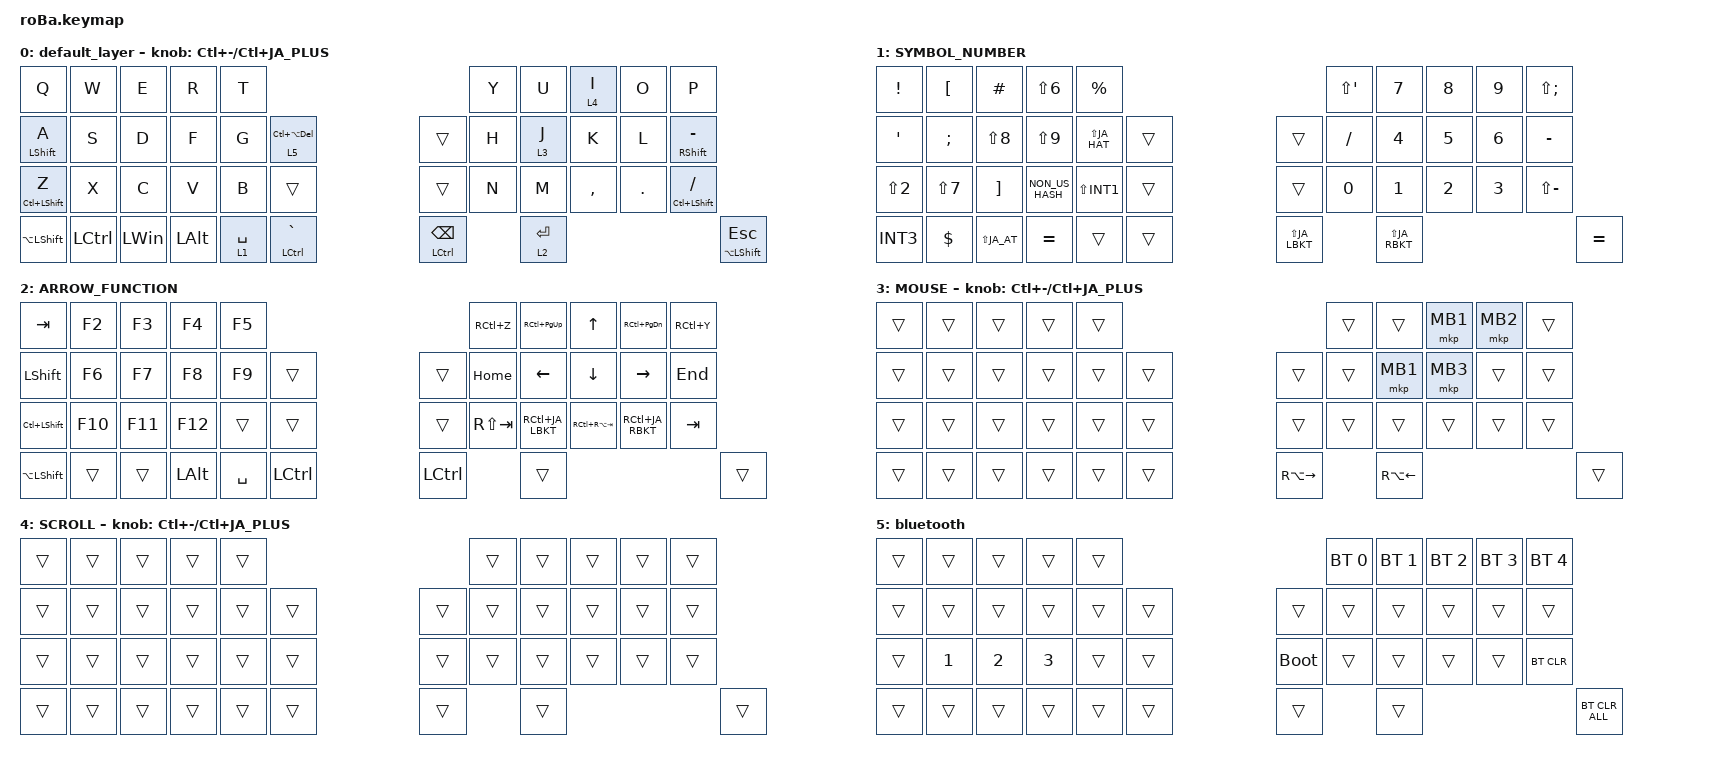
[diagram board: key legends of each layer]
#include <behaviors.dtsi>
#include <dt-bindings/zmk/bt.h>
#include <dt-bindings/zmk/keys.h>
#include <dt-bindings/zmk/pointing.h>

// --- JIS配列完全対応：記号スキャンコード再定義（Additive Only） ---
#define JA_AT   LBKT            // @
#define JA_HAT  EQUAL           // ^
#define JA_YEN  INT3            // ¥
#define JA_DQT  LS(N2)          // "
#define JA_AMP  LS(N6)          // &
#define JA_SQT  LS(N7)          // '
#define JA_LPAR LS(N8)          // (
#define JA_RPAR LS(N9)          // )
#define JA_EQL  LS(MINUS)       // =
#define JA_TIL  LS(JA_HAT)      // ~
#define JA_PIPE LS(INT3)        // |
#define JA_PLUS LS(SEMICOLON)   // +
#define JA_COLN SQT               // :
#define JA_AST  LS(SQT)         // *
#define JA_LBKT RBKT            // [
#define JA_RBKT NON_US_HASH     // ]
#define JA_LBRC LS(JA_LBKT)     // {
#define JA_RBRC LS(JA_RBKT)     // }
#define JA_UNDS LS(INT1)        // _ (ろキーにShiftを当てることでアンダーバーに固定)
#define JA_GRV  LS(JA_AT)       // ` (JIS配列ではShift + @ がバッククォート)
#define JA_SEMI SEMICOLON       // ;

&mt {
    flavor = "balanced";
    quick-tap-ms = <0>;
};

&trackball {
    scroll-layers = <4>;
};

/ {
    combos {
        compatible = "zmk,combos";
        tab {
            bindings = <&kp TAB>;
            key-positions = <0 1>;
        };

        // O(8) と P(9) の同時押しで Delete
        combo_delete {
            timeout-ms = <50>;
            key-positions = <8 9>;
            bindings = <&kp DELETE>;
        };
    };

    macros {
        to_layer_0: to_layer_0 {
            compatible = "zmk,behavior-macro-one-param";
            #binding-cells = <1>;
            bindings = <&to 0 &macro_param_1to1 &kp MACRO_PLACEHOLDER>;
            label = "TO_LAYER_0";
        };
    };

    behaviors {
        lt_to_layer_0: lt_to_layer_0 {
            compatible = "zmk,behavior-hold-tap";
            label = "LAYER_TAP_TO_0";
            bindings = <&mo>, <&to_layer_0>;
            #binding-cells = <2>;
            tapping-term-ms = <200>;
        };

        hm: homerow_mods {
            compatible = "zmk,behavior-hold-tap";
            #binding-cells = <2>;
            tapping-term-ms = <200>;
            quick-tap-ms = <200>;
            flavor = "tap-preferred";
            bindings = <&kp>, <&kp>;
        };

        lt_right: layer_tap_right_thumb {
            compatible = "zmk,behavior-hold-tap";
            #binding-cells = <2>;
            tapping-term-ms = <200>;
            quick-tap-ms = <0>;
            flavor = "balanced";
            bindings = <&mo>, <&kp>;
        };

        ime_ctrl: ime_toggle_control {
            compatible = "zmk,behavior-hold-tap";
            #binding-cells = <2>;
            tapping-term-ms = <200>;
            quick-tap-ms = <0>;
            flavor = "balanced";
            bindings = <&kp>, <&kp>;
        };
    };

    keymap {
        compatible = "zmk,keymap";

        default_layer {
            bindings = <
&kp Q             &kp W        &kp E         &kp R         &kp T                                                         &kp Y        &kp U    &lt 4 I    &kp O    &kp P
&hm LEFT_SHIFT A  &kp S        &kp D         &kp F         &kp G        &lt 5 LC(LA(DELETE))                 &trans         &kp H        &lt 3 J  &kp K      &kp L    &hm RIGHT_SHIFT MINUS
&hm LC(LSHIFT) Z  &kp X        &kp C         &kp V         &kp B        &trans                               &trans         &kp N        &kp M    &kp COMMA  &kp DOT  &hm LC(LSHIFT) SLASH
&kp LA(LSHIFT)          &kp LCTRL    &kp LEFT_WIN  &kp LEFT_ALT  &lt 1 SPACE  &ime_ctrl LCTRL GRAVE                &hm LCTRL BACKSPACE  &lt_right 2 ENTER                               &hm LA(LSHIFT) ESCAPE
            >;

            sensor-bindings = <&inc_dec_kp LC(MINUS) LC(JA_PLUS)>;
        };

        SYMBOL_NUMBER {
            bindings = <
&kp EXCLAMATION  &kp JA_AT        &kp HASH         &kp JA_AMP       &kp PERCENT                                     &kp JA_AST   &kp N7        &kp N8        &kp N9        &kp JA_PLUS
&kp JA_COLN      &kp JA_SEMI      &kp JA_LPAR      &kp JA_RPAR      &kp JA_TIL      &trans      &trans          &kp SLASH     &kp NUMBER_4  &kp N5        &kp NUMBER_6  &kp MINUS
&kp JA_DQT       &kp JA_SQT       &kp JA_LBKT      &kp JA_RBKT      &kp JA_UNDS     &trans      &trans          &kp N0        &kp NUMBER_1  &kp NUMBER_2  &kp NUMBER_3  &kp JA_EQL
&kp JA_YEN       &kp DOLLAR       &kp JA_GRV       &kp JA_HAT          &trans          &trans      &kp JA_LBRC     &kp JA_RBRC                                             &kp JA_HAT
            >;
        };

        ARROW_FUNCTION {
            bindings = <
&kp TAB         &kp F2   &kp F3   &kp F4        &kp F5                            &kp RC(Z)    &kp RC(PAGE_UP)       &kp UP_ARROW     &kp RC(PAGE_DOWN)      &kp RC(Y)
&kp LEFT_SHIFT  &kp F6   &kp F7   &kp F8        &kp F9     &trans         &trans  &kp HOME     &kp LEFT_ARROW        &kp DOWN_ARROW   &kp RIGHT_ARROW        &kp END
&kp LC(LSHIFT)  &kp F10  &kp F11  &kp F12       &trans     &trans         &trans  &kp RS(TAB)  &kp RC(JA_LBKT)  &kp RC(RA(TAB))  &kp RC(JA_RBKT)  &kp TAB
&kp LA(LSHIFT)  &trans   &trans   &kp LEFT_ALT  &kp SPACE  &kp LCTRL      &kp LCTRL  &trans                                                                    &trans
            >;
        };

        MOUSE {
            bindings = <
&trans  &trans  &trans  &trans  &trans                                    &trans              &trans    &mkp MB1  &mkp MB2  &trans
&trans  &trans  &trans  &trans  &trans  &trans      &trans                &trans              &mkp MB1  &mkp MB3  &trans    &trans
&trans  &trans  &trans  &trans  &trans  &trans      &trans                &trans              &trans    &trans    &trans    &trans
&trans  &trans  &trans  &trans  &trans  &trans      &kp RA(RIGHT_ARROW)  &kp RA(LEFT_ARROW)                      &trans
            >;

            sensor-bindings = <&inc_dec_kp LC(MINUS) LC(JA_PLUS)>;
        };

        SCROLL {
            bindings = <
&trans  &trans  &trans  &trans  &trans                      &trans  &trans  &trans  &trans  &trans
&trans  &trans  &trans  &trans  &trans  &trans      &trans  &trans  &trans  &trans  &trans  &trans
&trans  &trans  &trans  &trans  &trans  &trans      &trans  &trans  &trans  &trans  &trans  &trans
&trans  &trans  &trans  &trans  &trans  &trans      &trans  &trans                          &trans
            >;

            sensor-bindings = <&inc_dec_kp LC(MINUS) LC(JA_PLUS)>;
        };

        bluetooth {
            bindings = <
&trans  &trans        &trans        &trans        &trans                            &bt BT_SEL 0  &bt BT_SEL 1  &bt BT_SEL 2  &bt BT_SEL 3  &bt BT_SEL 4
&trans  &trans        &trans        &trans        &trans  &trans      &trans        &trans        &trans        &trans        &trans        &trans
&trans  &kp NUMBER_1  &kp NUMBER_2  &kp NUMBER_3  &trans  &trans      &bootloader  &trans        &trans        &trans        &trans        &bt BT_CLR
&trans  &trans        &trans        &trans        &trans  &trans      &trans        &trans                                                  &bt BT_CLR_ALL
            >;
        };
    };
};
